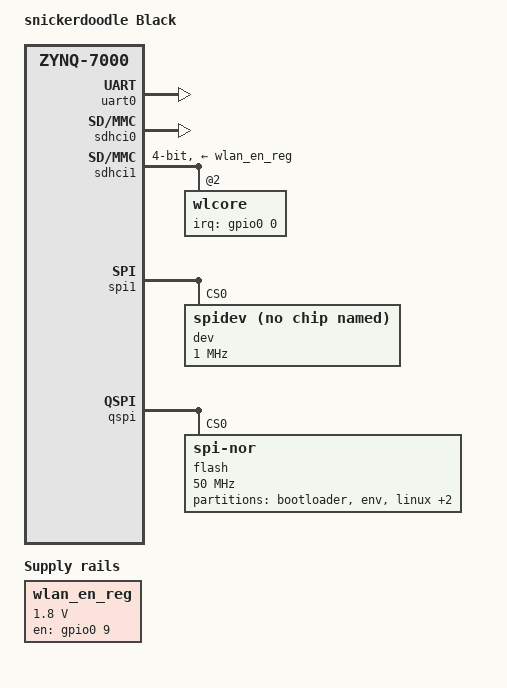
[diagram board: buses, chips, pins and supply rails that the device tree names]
/include/ "system-conf.dtsi"
/ {
	model = "snickerdoodle Black";
	compatible = "krtkl,snickerdoodle-black", "krtkl,snickerdoodle", "xlnx,zynq-7000";

	chosen {
		bootargs = "console=ttyPS0,115200n8 earlyprintk uio_pdrv_genirq.of_id=generic-uio";
		stdout-path = &uart0;
	};

	aliases {
		serial0 = &uart0;
		spi0 = &qspi;
		spi1 = &spi1;
		mmc0 = &sdhci0;
		mmc1 = &sdhci1;
	};

	wlan_en_reg: fixed-regulator-wlen {
		compatible = "regulator-fixed";
		regulator-name = "wlan-en-regulator";
		regulator-min-microvolt = <1800000>;
		regulator-max-microvolt = <1800000>;
		gpio = <&gpio0 9 4>;
		startup-delay-us = <70000>;
		enable-active-high;
	};
};

&uart0 {
	status = "okay";
};

&sdhci0 {
	status = "okay";
};

&sdhci1 {
	status = "okay";
	vmmc-supply = <&wlan_en_reg>;
	bus-width = <4>;
	cap-power-off-card;
	keep-power-in-suspend;
	#address-cells = <1>;
	#size-cells = <0>;

	wlcore: wlcore@0 {
		reg = <2>;
		interrupt-parent = <&gpio0>;
		interrupts = <0 4>;
		compatible = "wlcore", "ti,wl1837";
	};
};

&spi1 {
    status = "okay";
    num-cs = <1>;
    is-decoded-cs = <0>;
    #address-cells = <1>;
    #size-cells = <0>;

    dev@0 {
        compatible = "linux,spidev";
        reg = <0>;
        spi-max-frequency = <1000000>;
    };
};

&qspi {
	status = "okay";
	is-dual = <0>;
	num-cs = <1>;
	xlnx,qspi-mode = <1>;

	flash@0 {
		#address-cells = <1>;
		#size-cells =<1>;
		compatible = "jedec,spi-nor";
		reg = <0>;
		spi-max-frequency = <50000000>;
		m25p,fast-read;

		partition@bootloader {
			label = "bootloader";
			reg = <0x0 0xe0000>;
		};
		partition@env {
			label = "env";
			reg = <0xe0000 0x20000>;
		};
		partition@linux {
			label = "linux";
			reg = <0x100000 0x500000>;
		};
		partition@devicetree {
			label = "devicetree";
			reg = <0x600000 0x620000>;
		};
		partition@rootfs {
			label = "rootfs";
			reg = <0x620000 0x9e0000>;
		};
	};
};


// Generated pl.dtsi from xsa file at path below
// linux/linux-clean/components/plnx_workspace/device-tree/device-tree/pl.dtsi

&amba_pl {

	/delete-node/ led_driver_top@40000000;

	led_driver_ctrl@40000000 {
		clock-names = "S_AXIL_ACLK";
		clocks = <&clkc 15>;
		compatible = "generic-uio", "xlnx,led-driver-top-1.0";
		reg = <0x40000000 0x2000>;
		xlnx,axil-addr-width = <0x5>;
		xlnx,axil-data-width = <0x20>;
	};

	led_driver_data@40010000 {
		clock-names = "S_AXIF_ACLK";
		clocks = <&clkc 15>;
		compatible = "generic-uio", "xlnx,led-driver-top-1.0";
		reg = <0x40010000 0x10000>;
		xlnx,s-axif-addr-width = <0x10>;
		xlnx,s-axif-data-width = <0x20>;
		xlnx,s-axif-id-width = <0x2>;
	};
};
